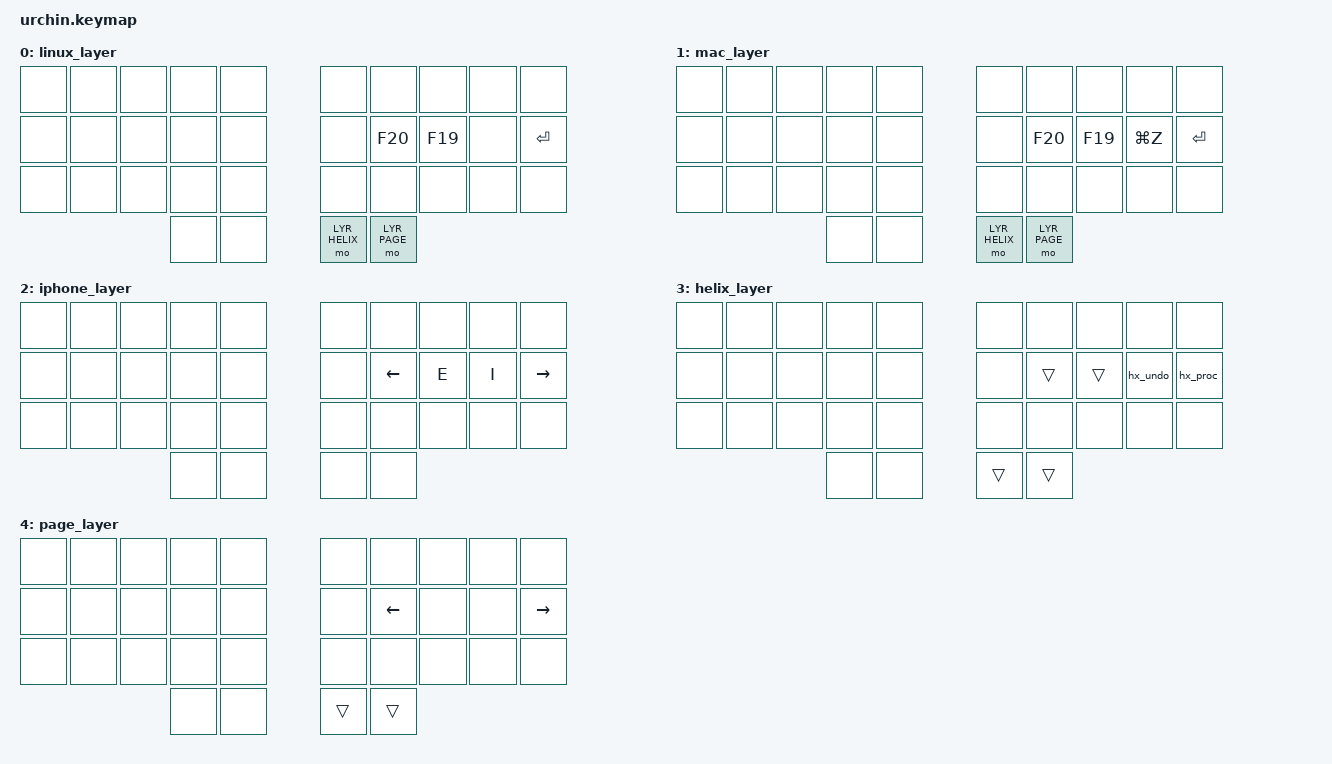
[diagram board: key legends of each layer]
/*
 * Urchin right-half: Handy remote + Kindle clicker
 *
 * Standalone BLE (CONFIG_ZMK_SPLIT=n). Right half only.
 *
 * Boot default is Handy (layer 0 = Linux Handy). N is F20 on both
 * computer layers so toggle works on nimbini and Mac without a
 * profile combo. Kindle arrows: hold outer thumb (PAGE), or N+E
 * for the iPhone layer.
 *
 * Hosts (explicit combos, from rest — require-prior-idle 1000 ms):
 *   N+E → iPhone  (profile 0, arrows)
 *   E+I → nimbini (profile 1, Linux Handy)
 *   I+O → Mac     (profile 2, Mac Handy)
 *
 * Computer thumbs (no keycaps):
 *   Inner  → momentary HELIX  (Esc u / Esc Space p)
 *   Outer  → momentary PAGE   (LEFT/RIGHT)
 *
 * Home-row N E I O (positions 16–19):
 *   Linux:  F20 / F19 / (I unbound) / Enter
 *   Mac:    F20 / F19 / Cmd+Z / Enter
 *   Helix:  (trans toggle) / (trans cancel) / Esc u / Esc Space p
 *
 *    0  1  2  3  4 |  5  6  7  8  9
 *   10 11 12 13 14 | 15 16 17 18 19
 *   20 21 22 23 24 | 25 26 27 28 29
 *            30 31 | 32 33
 *
 * N=16 E=17 I=18 O=19  inner thumb=32  outer thumb=33
 */

#include <behaviors.dtsi>
#include <dt-bindings/zmk/keys.h>
#include <dt-bindings/zmk/bt.h>

#define LYR_LINUX  0
#define LYR_MAC    1
#define LYR_IPHONE 2
#define LYR_HELIX  3
#define LYR_PAGE   4

/ {
    macros {
        host_iphone: host_iphone {
            compatible = "zmk,behavior-macro";
            #binding-cells = <0>;
            bindings
                = <&macro_tap &bt BT_SEL 0>
                , <&macro_tap &to LYR_IPHONE>;
        };

        host_nimbini: host_nimbini {
            compatible = "zmk,behavior-macro";
            #binding-cells = <0>;
            bindings
                = <&macro_tap &bt BT_SEL 1>
                , <&macro_tap &to LYR_LINUX>;
        };

        host_mac: host_mac {
            compatible = "zmk,behavior-macro";
            #binding-cells = <0>;
            bindings
                = <&macro_tap &bt BT_SEL 2>
                , <&macro_tap &to LYR_MAC>;
        };

        hx_undo: hx_undo {
            compatible = "zmk,behavior-macro";
            #binding-cells = <0>;
            bindings
                = <&macro_tap &kp ESC>
                , <&macro_wait_time 40>
                , <&macro_tap &kp U>;
        };

        hx_proc: hx_proc {
            compatible = "zmk,behavior-macro";
            #binding-cells = <0>;
            bindings
                = <&macro_tap &kp ESC>
                , <&macro_wait_time 40>
                , <&macro_tap &kp SPACE>
                , <&macro_wait_time 40>
                , <&macro_tap &kp P>;
        };
    };

    combos {
        compatible = "zmk,combos";

        combo_iphone {
            timeout-ms = <50>;
            require-prior-idle-ms = <1000>;
            key-positions = <16 17>;
            bindings = <&host_iphone>;
        };

        combo_nimbini {
            timeout-ms = <50>;
            require-prior-idle-ms = <1000>;
            key-positions = <17 18>;
            bindings = <&host_nimbini>;
        };

        combo_mac {
            timeout-ms = <50>;
            require-prior-idle-ms = <1000>;
            key-positions = <18 19>;
            bindings = <&host_mac>;
        };
    };

    keymap {
        compatible = "zmk,keymap";

        linux_layer {
            bindings = <
    &none  &none  &none  &none  &none      &none  &none  &none  &none  &none
    &none  &none  &none  &none  &none      &none  &kp F20  &kp F19  &none  &kp RET
    &none  &none  &none  &none  &none      &none  &none  &none  &none  &none
                  &none  &none                &mo LYR_HELIX  &mo LYR_PAGE
            >;
        };

        mac_layer {
            bindings = <
    &none  &none  &none  &none  &none      &none  &none  &none  &none  &none
    &none  &none  &none  &none  &none      &none  &kp F20  &kp F19  &kp LG(Z)  &kp RET
    &none  &none  &none  &none  &none      &none  &none  &none  &none  &none
                  &none  &none                &mo LYR_HELIX  &mo LYR_PAGE
            >;
        };

        iphone_layer {
            bindings = <
    &none  &none  &none  &none  &none      &none  &none  &none  &none  &none
    &none  &none  &none  &none  &none      &none  &kp LEFT  &kp E  &kp I  &kp RIGHT
    &none  &none  &none  &none  &none      &none  &none  &none  &none  &none
                  &none  &none                &none  &none
            >;
        };

        helix_layer {
            bindings = <
    &none  &none  &none  &none  &none      &none  &none  &none  &none  &none
    &none  &none  &none  &none  &none      &none  &trans  &trans  &hx_undo  &hx_proc
    &none  &none  &none  &none  &none      &none  &none  &none  &none  &none
                  &none  &none                &trans  &trans
            >;
        };

        page_layer {
            bindings = <
    &none  &none  &none  &none  &none      &none  &none  &none  &none  &none
    &none  &none  &none  &none  &none      &none  &kp LEFT  &none  &none  &kp RIGHT
    &none  &none  &none  &none  &none      &none  &none  &none  &none  &none
                  &none  &none                &trans  &trans
            >;
        };
    };
};
